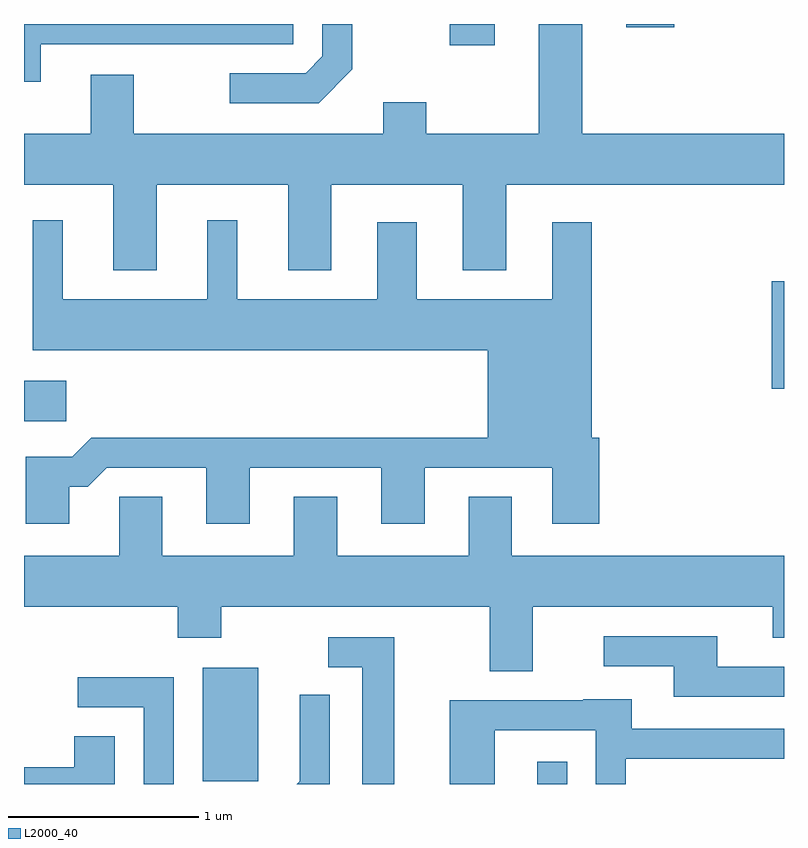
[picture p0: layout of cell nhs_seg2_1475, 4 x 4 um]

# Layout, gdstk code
import gdstk
lib = gdstk.Library(unit=1e-6, precision=1e-09)
def R(c, l, rs):  # rectangles x0, y0, x1, y1
    for r in rs: c.add(gdstk.rectangle(r[:2], r[2:], *l))
def P(c, l, *ps):  # polygons
    for p in ps: c.add(gdstk.Polygon(p, *l))
L2000_40 = (2000, 40)

nhs_seg2_1475 = lib.new_cell('nhs_seg2_1475')
R(nhs_seg2_1475, L2000_40, [(230.311,1071.802,230.469,1071.918), (228.551,1071.816,228.844,1072.414), (227.611,1073.711,227.834,1073.924), (231.546,1073.881,231.611,1074.449), (229.853,1075.691,230.089,1075.802), (230.781,1075.786,231.034,1075.802)])
P(nhs_seg2_1475, L2000_40, [(228.309,1074.956),(229.001,1074.956),(229.001,1074.506),(229.229,1074.506),(229.229,1074.956),(229.921,1074.956),(229.921,1074.506),(230.149,1074.506),(230.149,1074.956),(231.611,1074.956),(231.611,1075.224),(230.549,1075.224),(230.549,1075.802),(230.321,1075.802),(230.321,1075.224),(229.729,1075.224),(229.729,1075.389),(229.501,1075.389),(229.501,1075.224),(228.189,1075.224),(228.189,1075.534),(227.961,1075.534),(227.961,1075.224),(227.611,1075.224),(227.611,1074.956),(228.081,1074.956),(228.081,1074.506),(228.309,1074.506)],
  [(227.699,1075.696),(229.029,1075.696),(229.029,1075.802),(227.611,1075.802),(227.611,1075.498),(227.699,1075.498)],
  [(229.339,1075.564),(229.339,1075.802),(229.181,1075.802),(229.181,1075.632),(229.094,1075.544),(228.693,1075.544),(228.693,1075.386),(229.162,1075.386)],
  [(227.849,1073.366),(227.947,1073.366),(228.047,1073.466),(228.571,1073.466),(228.571,1073.171),(228.799,1073.171),(228.799,1073.466),(229.491,1073.466),(229.491,1073.171),(229.719,1073.171),(229.719,1073.466),(230.391,1073.466),(230.391,1073.171),(230.639,1073.171),(230.639,1073.624),(230.599,1073.624),(230.599,1074.759),(230.391,1074.759),(230.391,1074.354),(229.679,1074.354),(229.679,1074.759),(229.471,1074.759),(229.471,1074.354),(228.734,1074.354),(228.734,1074.768),(228.576,1074.768),(228.576,1074.354),(227.814,1074.354),(227.814,1074.768),(227.656,1074.768),(227.656,1074.086),(230.051,1074.086),(230.051,1073.624),(227.964,1073.624),(227.864,1073.524),(227.621,1073.524),(227.621,1073.171),(227.849,1073.171)],
  [(230.289,1072.736),(231.551,1072.736),(231.551,1072.571),(231.611,1072.571),(231.611,1073.004),(230.179,1073.004),(230.179,1073.314),(229.951,1073.314),(229.951,1073.004),(229.259,1073.004),(229.259,1073.314),(229.031,1073.314),(229.031,1073.004),(228.339,1073.004),(228.339,1073.314),(228.111,1073.314),(228.111,1073.004),(227.611,1073.004),(227.611,1072.736),(228.421,1072.736),(228.421,1072.571),(228.649,1072.571),(228.649,1072.736),(230.061,1072.736),(230.061,1072.396),(230.289,1072.396)],
  [(231.611,1072.419),(231.259,1072.419),(231.259,1072.579),(230.663,1072.579),(230.663,1072.421),(231.031,1072.421),(231.031,1072.261),(231.611,1072.261)],
  [(229.559,1072.574),(229.213,1072.574),(229.213,1072.416),(229.391,1072.416),(229.391,1071.802),(229.559,1071.802)],
  [(228.399,1072.364),(227.893,1072.364),(227.893,1072.206),(228.241,1072.206),(228.241,1071.802),(228.399,1071.802)],
  [(229.219,1072.273),(229.061,1072.273),(229.061,1071.817),(229.046,1071.802),(229.219,1071.802)],
  [(230.089,1072.086),(230.621,1072.086),(230.621,1071.802),(230.779,1071.802),(230.779,1071.936),(231.611,1071.936),(231.611,1072.094),(230.809,1072.094),(230.809,1072.249),(230.555,1072.249),(230.555,1072.244),(229.851,1072.244),(229.851,1071.802),(230.089,1071.802)],
  [(228.089,1072.054),(227.876,1072.054),(227.876,1071.889),(227.611,1071.889),(227.611,1071.802),(228.089,1071.802)])

lib.write_gds('nhs_seg2_1475.gds')
